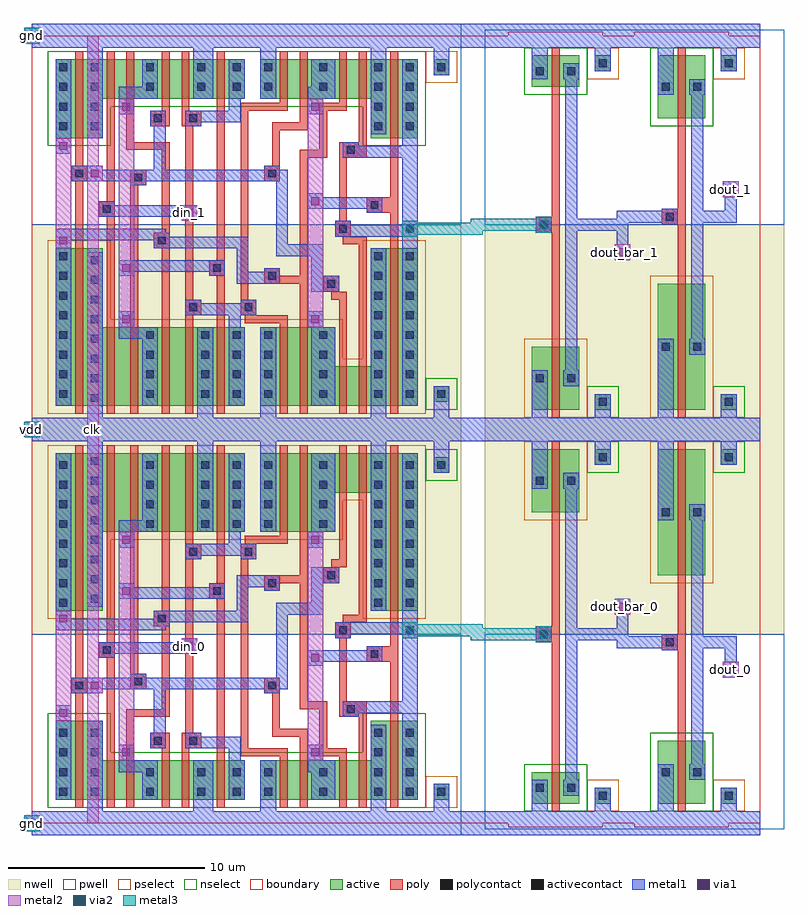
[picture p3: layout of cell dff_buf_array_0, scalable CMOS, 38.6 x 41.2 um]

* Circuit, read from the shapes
.subckt dff_buf_array_0 clk din_0 din_1 dout_0 dout_1 dout_bar_0 dout_bar_1 gnd vdd
M1 gnd clk n1 gnd nfet w=4u l=0.4u
M2 gnd clk n2 gnd nfet w=4u l=0.4u
M3 n3 din_0 gnd gnd nfet w=2u l=0.4u
M4 n4 din_1 gnd gnd nfet w=2u l=0.4u
M5 n5 n1 n3 gnd nfet w=2u l=0.4u
M6 n6 n2 n4 gnd nfet w=2u l=0.4u
M7 n7 clk n5 gnd nfet w=2u l=0.4u
M8 n8 clk n6 gnd nfet w=2u l=0.4u
M9 gnd n9 n7 gnd nfet w=2u l=0.4u
M10 gnd n10 n8 gnd nfet w=2u l=0.4u
M11 n9 n5 gnd gnd nfet w=2u l=0.4u
M12 n10 n6 gnd gnd nfet w=2u l=0.4u
M13 n11 n9 gnd gnd nfet w=2u l=0.4u
M14 n12 n10 gnd gnd nfet w=2u l=0.4u
M15 n13 clk n11 gnd nfet w=2u l=0.4u
M16 n14 clk n12 gnd nfet w=2u l=0.4u
M17 n15 n1 n13 gnd nfet w=2u l=0.4u
M18 n16 n2 n14 gnd nfet w=2u l=0.4u
M19 gnd dff_buf_0_0/pinv_2_1/A n15 gnd nfet w=2u l=0.4u
M20 gnd dff_buf_0_1/pinv_2_1/A n16 gnd nfet w=2u l=0.4u
M21 dff_buf_0_0/pinv_2_1/A n13 gnd gnd nfet w=4u l=0.4u
M22 dff_buf_0_1/pinv_2_1/A n14 gnd gnd nfet w=4u l=0.4u
M23 dout_bar_0 dff_buf_0_0/pinv_2_1/A gnd gnd nfet w=1.6u l=0.4u
M24 dout_bar_1 dff_buf_0_1/pinv_2_1/A gnd gnd nfet w=1.6u l=0.4u
M25 dout_0 dout_bar_0 gnd gnd nfet w=3.2u l=0.4u
M26 dout_1 dout_bar_1 gnd gnd nfet w=3.2u l=0.4u
M27 vdd clk n1 vdd pfet w=8u l=0.4u
M28 vdd clk n2 vdd pfet w=8u l=0.4u
M29 n17 din_0 vdd vdd pfet w=4u l=0.4u
M30 n18 din_1 vdd vdd pfet w=4u l=0.4u
M31 n5 clk n17 vdd pfet w=4u l=0.4u
M32 n6 clk n18 vdd pfet w=4u l=0.4u
M33 n19 n1 n5 vdd pfet w=4u l=0.4u
M34 n20 n2 n6 vdd pfet w=4u l=0.4u
M35 vdd n9 n19 vdd pfet w=4u l=0.4u
M36 vdd n10 n20 vdd pfet w=4u l=0.4u
M37 n9 n5 vdd vdd pfet w=4u l=0.4u
M38 n10 n6 vdd vdd pfet w=4u l=0.4u
M39 n21 n9 vdd vdd pfet w=4u l=0.4u
M40 n22 n10 vdd vdd pfet w=4u l=0.4u
M41 n13 n1 n21 vdd pfet w=4u l=0.4u
M42 n14 n2 n22 vdd pfet w=4u l=0.4u
M43 n23 clk n13 vdd pfet w=2u l=0.4u
M44 n24 clk n14 vdd pfet w=2u l=0.4u
M45 vdd dff_buf_0_0/pinv_2_1/A n23 vdd pfet w=2u l=0.4u
M46 vdd dff_buf_0_1/pinv_2_1/A n24 vdd pfet w=2u l=0.4u
M47 dff_buf_0_0/pinv_2_1/A n13 vdd vdd pfet w=8u l=0.4u
M48 dff_buf_0_1/pinv_2_1/A n14 vdd vdd pfet w=8u l=0.4u
M49 dout_bar_0 dff_buf_0_0/pinv_2_1/A vdd vdd pfet w=3.2u l=0.4u
M50 dout_bar_1 dff_buf_0_1/pinv_2_1/A vdd vdd pfet w=3.2u l=0.4u
M51 dout_0 dout_bar_0 vdd vdd pfet w=6.4u l=0.4u
M52 dout_1 dout_bar_1 vdd vdd pfet w=6.4u l=0.4u
.ends

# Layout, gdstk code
import gdstk
lib = gdstk.Library(unit=1e-6, precision=1e-09)
def R(c, l, rs):  # rectangles x0, y0, x1, y1
    for r in rs: c.add(gdstk.rectangle(r[:2], r[2:], *l))
def A(c, l, x, y, w, h, nx, ny, dx, dy):  # array of equal rectangles
    R(c, l, [(x+i*dx, y+j*dy, x+i*dx+w, y+j*dy+h) for i in range(nx) for j in range(ny)])
pwell = (41, 0)
nwell = (42, 0)
active = (43, 0)
pselect = (44, 0)
nselect = (45, 0)
poly = (46, 0)
polycontact = (47, 0)
activecontact = (48, 0)
metal1 = (49, 0)
via1 = (50, 0)
metal2 = (51, 0)
via2 = (61, 0)
metal3 = (62, 0)
boundary = (63, 0)

dff = lib.new_cell('dff')
R(dff, pwell, [(0,-0.6,21.8,9.6)])
R(dff, nwell, [(0,9.6,21.8,20.6)])
R(dff, active, [(1.2,1.2,10.8,3.2), (11.6,1.2,19.6,3.2), (20.4,1.2,21.2,2), (1.2,3.2,3.6,5.2), (17.2,3.2,19.6,5.2), (1.2,10.8,3.6,14.8), (17.2,10.8,19.6,16.8), (1.2,14.8,10.8,18.8), (11.6,14.8,15.4,16.8), (11.6,16.8,19.6,18.8), (20.4,17.8,21.2,18.6)])
R(dff, pselect, [(20,0.8,21.6,2.4), (0.8,10.4,4,14.4), (16.8,10.4,20,16.4), (0.8,14.4,15.8,16.4), (0.8,16.4,20,19.2)])
R(dff, nselect, [(0.8,0.8,20,3.6), (0.8,3.6,4,5.6), (16.8,3.6,20,5.6), (20,17.4,21.6,19)])
R(dff, poly, [(2.2,0.8,2.6,6.6), (3.8,0.8,4.2,8.4), (4.8,0.8,5.2,5.4), (6.6,0.8,7,3.8), (7.6,0.8,8,3.8), (9.4,0.8,9.8,11.4), (12.6,0.8,13,3.4), (13.6,0.8,14,4.4), (15.6,0.8,16,3.4), (16.6,0.8,17,5.4), (18.2,0.8,18.6,8.2), (10.6,3.4,13,3.8), (14.6,3.4,16,3.8), (6,3.8,7,4.6), (7.6,3.8,8.6,4.6), (10.6,3.8,11,13.4), (14.6,3.8,15,5.8), (12.2,4.4,14,4.8), (7.8,4.6,8.2,13.4), (12.2,4.8,12.6,6.6), (4.8,5.4,7,5.8), (15.6,5.4,17,6.2), (6.6,5.8,7,10), (13.6,5.8,15,6.2), (13.6,6.2,14,12.2), (15.6,6.2,16,9.4), (2,6.6,2.8,7.4), (11.8,6.6,12.6,7.4), (5,6.8,5.8,7.6), (2.2,7.4,2.6,19.2), (5,7.6,5.4,19.2), (17,8.2,18.6,9), (3.4,8.4,4.2,9.2), (18.2,9,18.6,19.2), (3.8,9.2,4.2,19.2), (15.4,9.4,16.2,10.2), (6.2,10,7,10.8), (15.8,10.2,17,10.6), (16.6,10.6,17,19.2), (6.6,10.8,7,19.2), (9,11.4,9.8,12.2), (11.8,11.8,12.6,12.2), (9.4,12.2,9.8,19.2), (11.8,12.2,14,12.6), (14.8,12.2,15.6,13), (13.6,12.6,14,19.2), (15.2,13,16,13.4), (7.8,13.4,8.6,14.2), (10.6,13.4,11.4,14.2), (15.6,13.4,16,19.2), (7.8,14.2,8.2,19.2), (10.8,14.2,13,14.6), (12.6,14.6,13,19.2)])
R(dff, polycontact, [(6.2,4,6.6,4.4), (8,4,8.4,4.4), (16,5.6,16.4,6), (2.2,6.8,2.6,7.2), (12,6.8,12.4,7.2), (5.2,7,5.6,7.4), (17.2,8.4,17.6,8.8), (3.6,8.6,4,9), (15.6,9.6,16,10), (6.4,10.2,6.8,10.6), (9.2,11.6,9.6,12), (12,12,12.4,12.4), (15,12.4,15.4,12.8), (8,13.6,8.4,14), (10.8,13.6,11.2,14)])
A(dff, activecontact, 1.4, 1.4, 0.4, 0.4, 1, 4, 0, 1)
A(dff, activecontact, 3, 1.4, 0.4, 0.4, 1, 4, 0, 1)
A(dff, activecontact, 11.8, 1.4, 0.4, 0.4, 3, 2, 2.8, 1)
A(dff, activecontact, 19, 1.4, 0.4, 0.4, 1, 4, 0, 1)
A(dff, activecontact, 1.4, 11, 0.4, 0.4, 1, 8, 0, 1)
A(dff, activecontact, 17.4, 11, 0.4, 0.4, 1, 7, 0, 1)
A(dff, activecontact, 19, 11, 0.4, 0.4, 1, 7, 0, 1)
A(dff, activecontact, 3, 11.2, 0.4, 0.4, 1, 8, 0, 1)
A(dff, activecontact, 5.8, 15, 0.4, 0.4, 1, 4, 0, 1)
A(dff, activecontact, 8.6, 15, 0.4, 0.4, 3, 4, 1.6, 1)
A(dff, activecontact, 14.6, 15, 0.4, 0.4, 1, 4, 0, 1)
A(dff, activecontact, 17.4, 18, 0.4, 0.4, 3, 1, 1.6, 0)
R(dff, activecontact, [(5.8,1.4,6.2,1.8), (8.4,1.4,8.8,1.8), (10.2,1.4,10.6,1.8), (20.6,1.4,21,1.8), (5.8,2.4,6.2,2.8), (8.4,2.4,8.8,2.8), (10.2,2.4,10.6,2.8), (17.4,3.4,17.8,3.8), (17.4,4.4,17.8,4.8)])
R(dff, metal1, [(0,-0.6,21.8,0.6), (0,-0.6,21.8,0.6), (2.8,0.6,3.6,5.2), (8.2,0.6,9.2,3.2), (11.6,0.6,12.4,3.2), (17.2,0.6,18,5), (20.4,0.6,21.2,2), (1.2,1.2,2,6), (5.6,1.2,6.4,2.6), (10,1.2,10.8,3.2), (14.2,1.2,15.4,2.6), (18.8,1.2,19.6,5.6), (4.4,2.6,6.4,3.2), (14,2.6,15.4,3.2), (4.4,3.2,5.2,4), (10,3.2,10.6,3.8), (14,3.2,14.8,4), (6,3.8,6.8,4.6), (7.8,3.8,10.6,4.4), (7.8,4.4,8.6,4.6), (6.2,4.6,6.8,6.8), (15.8,5.4,16.6,5.6), (15.8,5.6,19.6,6.2), (18.8,6.2,19.6,9.6), (2,6.6,3.6,6.8), (11.8,6.6,12.6,6.8), (2,6.8,13,7.4), (5,7.4,5.8,7.6), (12.4,7.4,13,10.6), (14,8,14.8,8.2), (14,8.2,17.8,8.8), (3.4,8.4,4.2,8.6), (3.4,8.6,8.4,9.2), (17,8.8,17.8,9), (7.6,9.2,8.4,9.4), (15.4,9.4,16.2,9.6), (15.4,9.6,19.6,10.2), (1.2,9.8,6.8,10), (1.2,10,7,10.2), (1.2,10.2,11,10.4), (18.8,10.2,19.6,18.8), (1.2,10.4,2,18.8), (6.2,10.4,11,10.8), (12.4,10.6,14.8,11.2), (10.4,10.8,11,12), (17.2,10.8,18,19.4), (2.8,11,3.6,19.4), (14.2,11.2,14.8,12.2), (4.4,11.4,9.8,12), (11.8,11.8,12.6,12), (4.4,12,5.2,12.2), (9,12,9.8,12.2), (10.4,12,12.6,12.6), (14.2,12.2,15.6,13), (7.8,13.4,8.6,13.6), (10.6,13.4,11.4,13.6), (7.8,13.6,11.4,14.2), (4.4,14,5.2,14.8), (14,14,14.8,14.8), (10,14.2,10.6,14.8), (4.4,14.8,6.4,15.4), (8.4,14.8,9.2,19.4), (10,14.8,10.8,18.8), (11.6,14.8,12.4,19.4), (14.2,14.8,15.4,18.8), (5.6,15.4,6.4,18.8), (20.4,17.8,21.2,19.4), (0,19.4,21.8,20.6), (0,19.4,21.8,20.6)])
R(dff, via1, [(4.6,3.4,5,3.8), (14.2,3.4,14.6,3.8), (1.4,5.4,1.8,5.8), (3,6.8,3.4,7.2), (14.2,8.2,14.6,8.6), (7.8,8.8,8.2,9.2), (19,9.6,19.4,10), (1.4,10.2,1.8,10.6), (4.6,11.6,5,12), (4.6,14.2,5,14.6), (14.2,14.2,14.6,14.6)])
R(dff, metal2, [(4.4,3.2,5.2,14.8), (14,3.2,14.8,14.8), (1.2,5.2,2,10.8), (2.8,6.6,3.6,7.4), (2.8,6.6,3.6,7.4), (7.6,8.6,8.4,9.4), (7.6,8.6,8.4,9.4), (18.8,9.4,19.6,10.2), (18.8,9.4,19.6,10.2)])
R(dff, boundary, [(0,0,21.8,20)])
dff.add(gdstk.Label('clk', (3,6.8), layer=51, texttype=0))
dff.add(gdstk.Label('D', (8,9), layer=51, texttype=0))
dff.add(gdstk.Label('Q', (19.2,9.8), layer=51, texttype=0))
dff.add(gdstk.Label('vdd', (6.4,19.6), layer=49, texttype=0))
dff.add(gdstk.Label('gnd', (8.8,0.2), layer=49, texttype=0))
dff.add(gdstk.Label('D', (8,9), layer=51, texttype=0))
dff.add(gdstk.Label('Q', (19.2,9.8), layer=51, texttype=0))
dff.add(gdstk.Label('clk', (3.2,7), layer=51, texttype=0))
dff.add(gdstk.Label('vdd', (10.9,20), layer=49, texttype=0))
dff.add(gdstk.Label('gnd', (10.9,0), layer=49, texttype=0))

contact_11 = lib.new_cell('contact_11')
R(contact_11, nwell, [(-1.2,-1.2,2,2)])
R(contact_11, active, [(0,0,0.8,0.8)])
R(contact_11, pselect, [(-0.4,-0.4,1.2,1.2)])
R(contact_11, activecontact, [(0.2,0.2,0.6,0.6)])
R(contact_11, metal1, [(0,0,0.8,0.8)])

pmos_m1_w3_200_a_p = lib.new_cell('pmos_m1_w3_200_a_p')
R(pmos_m1_w3_200_a_p, nwell, [(-1.2,-1.2,3.6,4.4)])
R(pmos_m1_w3_200_a_p, active, [(0,0,2.4,3.2)])
R(pmos_m1_w3_200_a_p, pselect, [(-0.4,-0.4,2.8,3.6)])
R(pmos_m1_w3_200_a_p, poly, [(1,-0.4,1.4,3.6), (1,-0.4,1.4,3.6)])
R(pmos_m1_w3_200_a_p, metal1, [(0,1.2,0.8,2), (1.6,1.2,2.4,2)])
R(pmos_m1_w3_200_a_p, boundary, [(-1.2,-1.2,3.6,4.4)])
pmos_m1_w3_200_a_p.add(gdstk.Reference(contact_11, (0,1.2)))
pmos_m1_w3_200_a_p.add(gdstk.Reference(contact_11, (1.6,1.2)))
pmos_m1_w3_200_a_p.add(gdstk.Label('G', (1.2,1.6), layer=46, texttype=0))
pmos_m1_w3_200_a_p.add(gdstk.Label('S', (0.4,1.6), layer=49, texttype=0))
pmos_m1_w3_200_a_p.add(gdstk.Label('D', (2,1.6), layer=49, texttype=0))

contact_16 = lib.new_cell('contact_16')
R(contact_16, pwell, [(-1.2,-1.2,2,2)])
R(contact_16, active, [(0,0,0.8,0.8)])
R(contact_16, nselect, [(-0.4,-0.4,1.2,1.2)])
R(contact_16, activecontact, [(0.2,0.2,0.6,0.6)])
R(contact_16, metal1, [(0,0,0.8,0.8)])

nmos_m1_w1_600_a_p = lib.new_cell('nmos_m1_w1_600_a_p')
R(nmos_m1_w1_600_a_p, pwell, [(-1.2,-1.2,3.6,2.8)])
R(nmos_m1_w1_600_a_p, active, [(0,0,2.4,1.6)])
R(nmos_m1_w1_600_a_p, nselect, [(-0.4,-0.4,2.8,2)])
R(nmos_m1_w1_600_a_p, poly, [(1,-0.4,1.4,2), (1,-0.4,1.4,2)])
R(nmos_m1_w1_600_a_p, metal1, [(0,0.4,0.8,1.2), (1.6,0.4,2.4,1.2)])
R(nmos_m1_w1_600_a_p, boundary, [(-1.2,-1.2,3.6,2.8)])
nmos_m1_w1_600_a_p.add(gdstk.Reference(contact_16, (0,0.4)))
nmos_m1_w1_600_a_p.add(gdstk.Reference(contact_16, (1.6,0.4)))
nmos_m1_w1_600_a_p.add(gdstk.Label('G', (1.2,0.8), layer=46, texttype=0))
nmos_m1_w1_600_a_p.add(gdstk.Label('S', (0.4,0.8), layer=49, texttype=0))
nmos_m1_w1_600_a_p.add(gdstk.Label('D', (2,0.8), layer=49, texttype=0))

contact_13 = lib.new_cell('contact_13')
R(contact_13, nwell, [(-1.2,-1.2,2,2)])
R(contact_13, active, [(0,0,0.8,0.8)])
R(contact_13, nselect, [(-0.4,-0.4,1.2,1.2)])
R(contact_13, activecontact, [(0.2,0.2,0.6,0.6)])
R(contact_13, metal1, [(0,0,0.8,0.8)])

contact_17 = lib.new_cell('contact_17')
R(contact_17, pwell, [(-1.2,-1.2,2,2)])
R(contact_17, active, [(0,0,0.8,0.8)])
R(contact_17, pselect, [(-0.4,-0.4,1.2,1.2)])
R(contact_17, activecontact, [(0.2,0.2,0.6,0.6)])
R(contact_17, metal1, [(0,0,0.8,0.8)])

contact_12 = lib.new_cell('contact_12')
R(contact_12, poly, [(0,0,0.8,0.8)])
R(contact_12, polycontact, [(0.2,0.2,0.6,0.6)])
R(contact_12, metal1, [(0,0,0.8,0.8)])

pinv_2 = lib.new_cell('pinv_2')
R(pinv_2, pwell, [(-1.2,-0.3,7.6,9.6)])
R(pinv_2, nwell, [(-1.2,9.6,7.6,21.4)])
R(pinv_2, poly, [(2.2,3,2.6,15.4), (1.8,9.2,2.2,10)])
R(pinv_2, metal1, [(0,-0.3,6.4,0.3), (1.2,-0.3,2,1.4), (4.4,0,5.2,1.4), (2.9,1.4,3.5,17.8), (1.4,9.2,2.2,10), (3.2,9.3,3.8,9.9), (1.2,17,2,20.3), (4.4,18.6,5.2,20), (0,19.7,6.4,20.3)])
R(pinv_2, boundary, [(0,0,6.4,20)])
pinv_2.add(gdstk.Reference(pmos_m1_w3_200_a_p, (1.2,15.8)))
pinv_2.add(gdstk.Reference(nmos_m1_w1_600_a_p, (1.2,1)))
pinv_2.add(gdstk.Reference(contact_13, (4.4,18.2)))
pinv_2.add(gdstk.Reference(contact_17, (4.4,1)))
pinv_2.add(gdstk.Reference(contact_12, (1.4,9.2)))
pinv_2.add(gdstk.Label('gnd', (3.2,0), layer=49, texttype=0))
pinv_2.add(gdstk.Label('vdd', (3.2,20), layer=49, texttype=0))
pinv_2.add(gdstk.Label('A', (1.8,9.6), layer=49, texttype=0))
pinv_2.add(gdstk.Label('Z', (3.5,9.6), layer=49, texttype=0))

pmos_m1_w6_400_a_p = lib.new_cell('pmos_m1_w6_400_a_p')
R(pmos_m1_w6_400_a_p, nwell, [(-1.2,-1.2,3.6,7.6)])
R(pmos_m1_w6_400_a_p, active, [(0,0,2.4,6.4)])
R(pmos_m1_w6_400_a_p, pselect, [(-0.4,-0.4,2.8,6.8)])
R(pmos_m1_w6_400_a_p, poly, [(1,-0.4,1.4,6.8), (1,-0.4,1.4,6.8)])
R(pmos_m1_w6_400_a_p, metal1, [(0,2.8,0.8,3.6), (1.6,2.8,2.4,3.6)])
R(pmos_m1_w6_400_a_p, boundary, [(-1.2,-1.2,3.6,7.6)])
pmos_m1_w6_400_a_p.add(gdstk.Reference(contact_11, (0,2.8)))
pmos_m1_w6_400_a_p.add(gdstk.Reference(contact_11, (1.6,2.8)))
pmos_m1_w6_400_a_p.add(gdstk.Label('G', (1.2,3.2), layer=46, texttype=0))
pmos_m1_w6_400_a_p.add(gdstk.Label('S', (0.4,3.2), layer=49, texttype=0))
pmos_m1_w6_400_a_p.add(gdstk.Label('D', (2,3.2), layer=49, texttype=0))

nmos_m1_w3_200_a_p = lib.new_cell('nmos_m1_w3_200_a_p')
R(nmos_m1_w3_200_a_p, pwell, [(-1.2,-1.2,3.6,4.4)])
R(nmos_m1_w3_200_a_p, active, [(0,0,2.4,3.2)])
R(nmos_m1_w3_200_a_p, nselect, [(-0.4,-0.4,2.8,3.6)])
R(nmos_m1_w3_200_a_p, poly, [(1,-0.4,1.4,3.6), (1,-0.4,1.4,3.6)])
R(nmos_m1_w3_200_a_p, metal1, [(0,1.2,0.8,2), (1.6,1.2,2.4,2)])
R(nmos_m1_w3_200_a_p, boundary, [(-1.2,-1.2,3.6,4.4)])
nmos_m1_w3_200_a_p.add(gdstk.Reference(contact_16, (0,1.2)))
nmos_m1_w3_200_a_p.add(gdstk.Reference(contact_16, (1.6,1.2)))
nmos_m1_w3_200_a_p.add(gdstk.Label('G', (1.2,1.6), layer=46, texttype=0))
nmos_m1_w3_200_a_p.add(gdstk.Label('S', (0.4,1.6), layer=49, texttype=0))
nmos_m1_w3_200_a_p.add(gdstk.Label('D', (2,1.6), layer=49, texttype=0))

pinv_3 = lib.new_cell('pinv_3')
R(pinv_3, pwell, [(-1.2,-0.3,7.6,9.6)])
R(pinv_3, nwell, [(-1.2,9.6,7.6,21.4)])
R(pinv_3, poly, [(2.2,4.6,2.6,12.2), (1.8,8.8,2.2,9.6)])
R(pinv_3, metal1, [(0,-0.3,6.4,0.3), (1.2,-0.3,2,2.2), (4.4,0,5.2,1.4), (2.9,2.2,3.5,16.2), (1.4,8.8,2.2,9.6), (3.2,8.9,3.8,9.5), (1.2,15.4,2,20.3), (4.4,18.6,5.2,20), (0,19.7,6.4,20.3)])
R(pinv_3, boundary, [(0,0,6.4,20)])
pinv_3.add(gdstk.Reference(pmos_m1_w6_400_a_p, (1.2,12.6)))
pinv_3.add(gdstk.Reference(nmos_m1_w3_200_a_p, (1.2,1)))
pinv_3.add(gdstk.Reference(contact_13, (4.4,18.2)))
pinv_3.add(gdstk.Reference(contact_17, (4.4,1)))
pinv_3.add(gdstk.Reference(contact_12, (1.4,8.8)))
pinv_3.add(gdstk.Label('gnd', (3.2,0), layer=49, texttype=0))
pinv_3.add(gdstk.Label('vdd', (3.2,20), layer=49, texttype=0))
pinv_3.add(gdstk.Label('A', (1.8,9.2), layer=49, texttype=0))
pinv_3.add(gdstk.Label('Z', (3.5,9.2), layer=49, texttype=0))

contact_9 = lib.new_cell('contact_9')
R(contact_9, metal2, [(0,0,0.8,0.8)])
R(contact_9, via2, [(0.2,0.2,0.6,0.6)])
R(contact_9, metal3, [(0,0,0.8,0.8)])

contact_19 = lib.new_cell('contact_19')
R(contact_19, metal1, [(0,0,0.8,0.8)])
R(contact_19, via1, [(0.2,0.2,0.6,0.6)])
R(contact_19, metal2, [(0,0,0.8,0.8)])

dff_buf_0 = lib.new_cell('dff_buf_0')
R(dff_buf_0, metal1, [(0,-0.6,37,0.6), (35.2,7.8,35.8,9.2), (29.7,8.9,30.3,9.5), (30,8.9,32.4,9.5), (34.1,8.9,35.5,9.5), (35.2,8.9,35.8,9.5), (29.7,9.2,30.3,9.6), (27.7,9.3,30,9.9), (29.7,9.3,30.3,9.9), (29.7,9.6,30.3,11), (0,19.4,37,20.6)])
R(dff_buf_0, metal2, [(2.8,6.6,3.6,7.4), (35.2,7.5,35.8,8.1), (7.6,8.6,8.4,9.4), (29.8,10.7,30.4,11.3)])
R(dff_buf_0, metal3, [(22.3,9.3,22.9,9.9), (22.6,9.3,26,9.9), (19.2,9.5,22.6,10.1), (22.3,9.5,22.9,10.1), (22.3,9.6,22.9,9.8)])
R(dff_buf_0, boundary, [(0,0,37,20)])
dff_buf_0.add(gdstk.Reference(dff, (0,0)))
dff_buf_0.add(gdstk.Reference(pinv_2, (24.2,0)))
dff_buf_0.add(gdstk.Reference(pinv_3, (30.6,0)))
dff_buf_0.add(gdstk.Reference(contact_9, (18.8,9.4)))
dff_buf_0.add(gdstk.Reference(contact_9, (25.6,9.2)))
dff_buf_0.add(gdstk.Reference(contact_19, (25.6,9.2)))
dff_buf_0.add(gdstk.Reference(contact_19, (35.1,7.4)))
dff_buf_0.add(gdstk.Reference(contact_19, (29.6,10.6)))
dff_buf_0.add(gdstk.Label('vdd', (18.5,20), layer=49, texttype=0))
dff_buf_0.add(gdstk.Label('gnd', (18.5,0), layer=49, texttype=0))
dff_buf_0.add(gdstk.Label('clk', (3.2,7), layer=51, texttype=0))
dff_buf_0.add(gdstk.Label('D', (8,9), layer=51, texttype=0))
dff_buf_0.add(gdstk.Label('Q', (35.5,7.8), layer=51, texttype=0))
dff_buf_0.add(gdstk.Label('Qb', (30.1,11), layer=51, texttype=0))

contact_7 = lib.new_cell('contact_7')
R(contact_7, metal1, [(0,0,0.8,0.8)])
R(contact_7, via1, [(0.2,0.2,0.6,0.6)])
R(contact_7, metal2, [(0,0,0.8,0.8)])

contact_8 = lib.new_cell('contact_8')
R(contact_8, metal2, [(0,0,0.8,0.8)])
R(contact_8, via2, [(0.2,0.2,0.6,0.6)])
R(contact_8, metal3, [(0,0,0.8,0.8)])

dff_buf_array_0 = lib.new_cell('dff_buf_array_0')
R(dff_buf_array_0, metal2, [(2.8,0,3.4,40), (35.2,7.5,35.8,8.1), (7.6,8.6,8.4,9.4), (29.8,10.7,30.4,11.3), (29.8,28.7,30.4,29.3), (7.6,30.6,8.4,31.4), (35.2,31.9,35.8,32.5)])
A(dff_buf_array_0, metal3, -0.4, -0.4, 0.8, 0.8, 1, 3, 0, 20)
R(dff_buf_array_0, boundary, [(0,0,37,40)])
dff_buf_array_0.add(gdstk.Reference(dff_buf_0, (0,0)))
dff_buf_array_0.add(gdstk.Reference(dff_buf_0, (0,40), x_reflection=True))
dff_buf_array_0.add(gdstk.Reference(contact_7, (-0.4,19.6)))
dff_buf_array_0.add(gdstk.Reference(contact_8, (-0.4,19.6)))
dff_buf_array_0.add(gdstk.Reference(contact_7, (-0.4,-0.4)))
dff_buf_array_0.add(gdstk.Reference(contact_8, (-0.4,-0.4)))
dff_buf_array_0.add(gdstk.Reference(contact_7, (-0.4,19.6)))
dff_buf_array_0.add(gdstk.Reference(contact_8, (-0.4,19.6)))
dff_buf_array_0.add(gdstk.Reference(contact_7, (-0.4,39.6)))
dff_buf_array_0.add(gdstk.Reference(contact_8, (-0.4,39.6)))
dff_buf_array_0.add(gdstk.Label('vdd', (0,20), layer=62, texttype=0))
dff_buf_array_0.add(gdstk.Label('gnd', (0,0), layer=62, texttype=0))
dff_buf_array_0.add(gdstk.Label('gnd', (0,40), layer=62, texttype=0))
dff_buf_array_0.add(gdstk.Label('din_0', (8,9), layer=51, texttype=0))
dff_buf_array_0.add(gdstk.Label('dout_0', (35.5,7.8), layer=51, texttype=0))
dff_buf_array_0.add(gdstk.Label('dout_bar_0', (30.1,11), layer=51, texttype=0))
dff_buf_array_0.add(gdstk.Label('din_1', (8,31), layer=51, texttype=0))
dff_buf_array_0.add(gdstk.Label('dout_1', (35.5,32.2), layer=51, texttype=0))
dff_buf_array_0.add(gdstk.Label('dout_bar_1', (30.1,29), layer=51, texttype=0))
dff_buf_array_0.add(gdstk.Label('clk', (3.1,20), layer=51, texttype=0))

lib.write_gds('dff_buf_array_0.gds')
